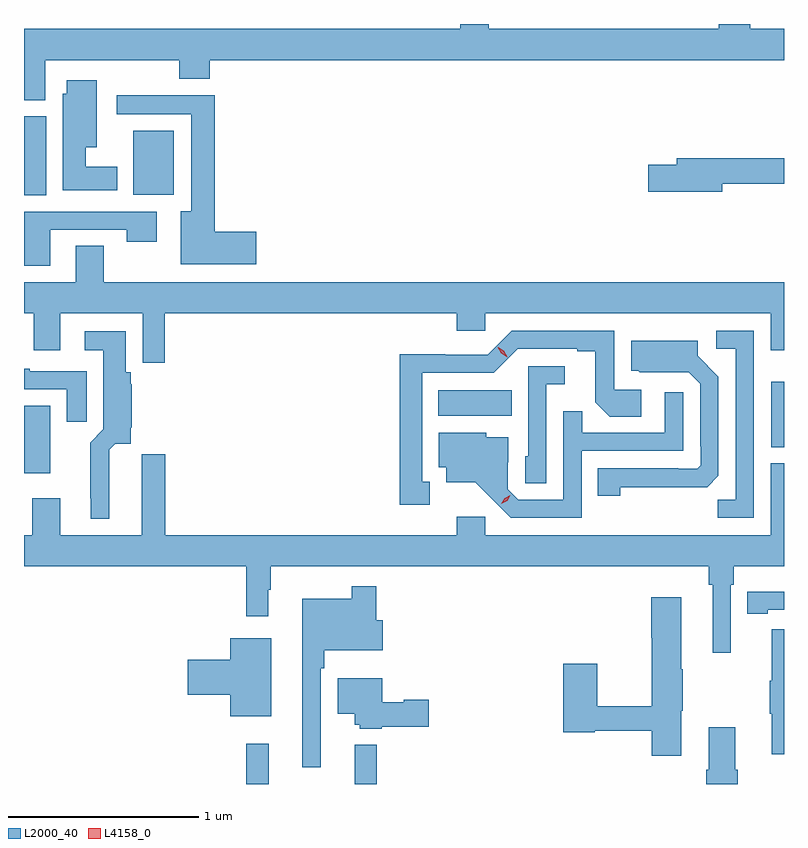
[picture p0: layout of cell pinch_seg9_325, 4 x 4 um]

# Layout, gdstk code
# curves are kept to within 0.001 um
import gdstk
lib = gdstk.Library(unit=1e-6, precision=1e-09)
def R(c, l, rs):  # rectangles x0, y0, x1, y1
    for r in rs: c.add(gdstk.rectangle(r[:2], r[2:], *l))
def P(c, l, *ps):  # polygons
    for p in ps: c.add(gdstk.Polygon(p, *l))
L2000_40 = (2000, 40)
L4158_0 = (4158, 0)

pinch_seg9_325 = lib.new_cell('pinch_seg9_325')
R(pinch_seg9_325, L2000_40, [(615.877,1192.61,615.995,1192.822), (616.448,1192.61,616.565,1192.816), (614.708,1194.246,614.845,1194.602), (618.641,1194.383,618.708,1194.727), (616.889,1194.548,617.276,1194.682), (614.708,1195.708,614.824,1196.124), (615.284,1195.712,615.496,1196.047)])
P(pinch_seg9_325, L2000_40, [(614.821,1196.42),(615.526,1196.42),(615.526,1196.321),(615.686,1196.321),(615.686,1196.42),(618.708,1196.42),(618.708,1196.584),(618.53,1196.584),(618.53,1196.61),(618.365,1196.61),(618.365,1196.584),(617.154,1196.584),(617.154,1196.61),(617.003,1196.61),(617.003,1196.584),(614.708,1196.584),(614.708,1196.209),(614.821,1196.209)],
  [(615.199,1195.858),(615.034,1195.858),(615.034,1195.961),(615.091,1195.961),(615.091,1196.314),(614.933,1196.314),(614.933,1196.244),(614.912,1196.244),(614.912,1195.736),(615.199,1195.736)],
  [(615.931,1195.517),(615.713,1195.517),(615.713,1196.234),(615.195,1196.234),(615.195,1196.136),(615.587,1196.136),(615.587,1195.624),(615.533,1195.624),(615.533,1195.346),(615.931,1195.346)],
  [(618.382,1195.768),(618.708,1195.768),(618.708,1195.904),(618.143,1195.904),(618.143,1195.868),(617.994,1195.868),(617.994,1195.726),(618.382,1195.726)],
  [(614.845,1195.527),(615.25,1195.527),(615.25,1195.464),(615.406,1195.464),(615.406,1195.623),(614.708,1195.623),(614.708,1195.338),(614.845,1195.338)],
  [(615.449,1195.088),(616.985,1195.088),(616.985,1194.995),(617.136,1194.995),(617.136,1195.088),(618.638,1195.088),(618.638,1194.894),(618.708,1194.894),(618.708,1195.252),(615.129,1195.252),(615.129,1195.442),(614.981,1195.442),(614.981,1195.252),(614.708,1195.252),(614.708,1195.088),(614.759,1195.088),(614.759,1194.894),(614.899,1194.894),(614.899,1195.088),(615.333,1195.088),(615.333,1194.828),(615.449,1194.828)],
  [(616.843,1194.201),(616.804,1194.201),(616.804,1194.774),(617.181,1194.774),(617.307,1194.9),(617.621,1194.9),(617.621,1194.888),(617.715,1194.888),(617.715,1194.62),(617.791,1194.544),(617.956,1194.544),(617.956,1194.684),(617.814,1194.684),(617.814,1194.996),(617.274,1194.996),(617.148,1194.87),(616.926,1194.87),(616.926,1194.872),(616.686,1194.872),(616.686,1194.081),(616.843,1194.081)],
  [(618.549,1194.996),(618.351,1194.996),(618.351,1194.9),(618.453,1194.9),(618.453,1194.107),(618.358,1194.107),(618.358,1194.012),(618.549,1194.012)],
  [(615.157,1194.368),(615.189,1194.401),(615.269,1194.401),(615.269,1194.482),(615.275,1194.488),(615.275,1194.714),(615.269,1194.714),(615.269,1194.777),(615.244,1194.777),(615.244,1194.994),(615.027,1194.994),(615.027,1194.893),(615.125,1194.893),(615.125,1194.476),(615.056,1194.407),(615.056,1194.115),(615.059,1194.115),(615.059,1194.005),(615.157,1194.005)],
  [(617.847,1194.172),(618.304,1194.173),(618.363,1194.232),(618.363,1194.754),(618.253,1194.864),(618.253,1194.943),(617.903,1194.943),(617.903,1194.785),(617.941,1194.785),(617.95,1194.776),(618.207,1194.777),(618.267,1194.717),(618.267,1194.388),(618.27,1194.388),(618.27,1194.288),(618.252,1194.27),(618.152,1194.27),(618.152,1194.273),(617.728,1194.273),(617.728,1194.126),(617.847,1194.126)],
  [(617.457,1194.713),(617.554,1194.713),(617.554,1194.81),(617.361,1194.81),(617.361,1194.336),(617.346,1194.336),(617.346,1194.193),(617.457,1194.193)],
  [(615.037,1194.783),(614.737,1194.783),(614.737,1194.796),(614.708,1194.796),(614.708,1194.687),(614.933,1194.687),(614.933,1194.516),(615.037,1194.516)],
  [(617.643,1194.363),(618.177,1194.363),(618.177,1194.673),(618.081,1194.673),(618.081,1194.459),(617.645,1194.459),(617.645,1194.572),(617.547,1194.572),(617.547,1194.105),(617.31,1194.105),(617.253,1194.162),(617.253,1194.304),(617.257,1194.304),(617.257,1194.436),(617.142,1194.436),(617.142,1194.46),(616.892,1194.46),(616.892,1194.278),(616.931,1194.278),(616.931,1194.197),(617.083,1194.197),(617.27,1194.012),(617.643,1194.012)],
  [(618.429,1193.66),(618.443,1193.66),(618.443,1193.756),(618.708,1193.756),(618.708,1194.298),(618.638,1194.298),(618.638,1193.92),(617.136,1193.92),(617.136,1194.016),(616.985,1194.016),(616.985,1193.92),(615.452,1193.92),(615.452,1194.346),(615.329,1194.346),(615.329,1193.92),(614.899,1193.92),(614.899,1194.115),(614.752,1194.115),(614.752,1193.92),(614.708,1193.92),(614.708,1193.756),(615.877,1193.756),(615.877,1193.493),(615.994,1193.493),(615.994,1193.633),(616.006,1193.633),(616.006,1193.756),(618.313,1193.756),(618.313,1193.66),(618.332,1193.66),(618.332,1193.301),(618.429,1193.301)],
  [(616.269,1193.219),(616.289,1193.219),(616.289,1193.315),(616.597,1193.315),(616.597,1193.473),(616.562,1193.473),(616.562,1193.65),(616.434,1193.65),(616.434,1193.584),(616.172,1193.584),(616.172,1192.698),(616.269,1192.698)],
  [(618.622,1193.526),(618.708,1193.526),(618.708,1193.623),(618.622,1193.623),(618.622,1193.622),(618.514,1193.622),(618.514,1193.506),(618.622,1193.506)],
  [(618.166,1192.995),(618.174,1192.995),(618.174,1193.213),(618.166,1193.213),(618.166,1193.593),(618.008,1193.593),(618.008,1193.38),(618.013,1193.38),(618.013,1193.018),(617.724,1193.018),(617.724,1193.242),(617.546,1193.242),(617.546,1192.882),(617.712,1192.882),(617.712,1192.89),(618.013,1192.89),(618.013,1192.758),(618.166,1192.758)],
  [(618.708,1193.425),(618.644,1193.425),(618.644,1193.153),(618.633,1193.153),(618.633,1192.979),(618.644,1192.979),(618.644,1192.767),(618.708,1192.767)],
  [(616.009,1193.377),(615.794,1193.377),(615.794,1193.264),(615.57,1193.264),(615.57,1193.081),(615.794,1193.081),(615.794,1192.967),(616.009,1192.967)],
  [(616.59,1192.912),(616.837,1192.912),(616.837,1193.054),(616.707,1193.054),(616.707,1193.041),(616.594,1193.041),(616.594,1193.167),(616.358,1193.167),(616.358,1192.979),(616.448,1192.979),(616.448,1192.923),(616.476,1192.923),(616.476,1192.901),(616.59,1192.901)],
  [(618.464,1192.684),(618.451,1192.684),(618.451,1192.909),(618.311,1192.909),(618.311,1192.684),(618.299,1192.684),(618.299,1192.61),(618.464,1192.61)])
P(pinch_seg9_325, L4158_0, [(617.22,1194.085),(617.22,1194.086),(617.238,1194.115),(617.268,1194.13),(617.268,1194.13),(617.268,1194.13),(617.251,1194.1),(617.221,1194.085)],
  [(617.251,1194.857),(617.219,1194.877),(617.202,1194.91),(617.202,1194.91),(617.203,1194.91),(617.234,1194.891),(617.251,1194.858),(617.251,1194.857)])

lib.write_gds('pinch_seg9_325.gds')
